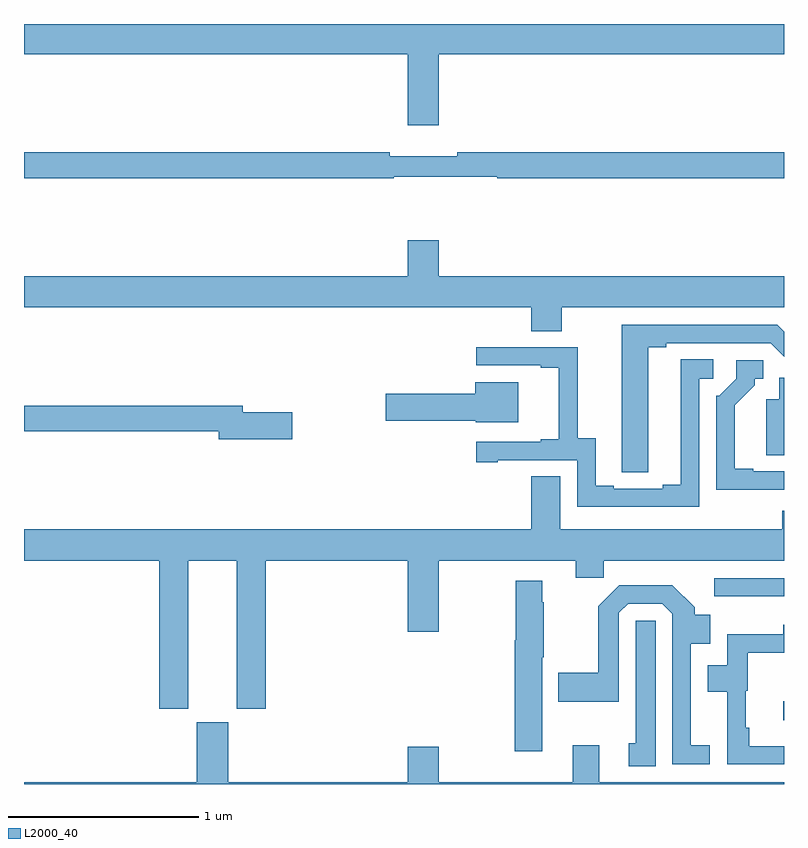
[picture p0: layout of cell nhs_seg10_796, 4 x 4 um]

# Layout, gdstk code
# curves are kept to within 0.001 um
import gdstk
lib = gdstk.Library(unit=1e-6, precision=1e-09)
def R(c, l, rs):  # rectangles x0, y0, x1, y1
    for r in rs: c.add(gdstk.rectangle(r[:2], r[2:], *l))
def P(c, l, *ps):  # polygons
    for p in ps: c.add(gdstk.Polygon(p, *l))
L2000_40 = (2000, 40)

nhs_seg10_796 = lib.new_cell('nhs_seg10_796')
R(nhs_seg10_796, L2000_40, [(154.995,1272.836,155,1272.936), (154.632,1273.487,155,1273.584)])
P(nhs_seg10_796, L2000_40, [(151,1276.34),(153.02,1276.34),(153.02,1275.966),(153.184,1275.966),(153.184,1276.34),(155,1276.34),(155,1276.5),(151,1276.5)],
  [(152.945,1275.696),(153.49,1275.696),(153.49,1275.688),(155,1275.688),(155,1275.824),(153.28,1275.824),(153.28,1275.805),(152.924,1275.805),(152.924,1275.824),(151,1275.824),(151,1275.688),(152.945,1275.688)],
  [(153.831,1275.008),(155,1275.008),(155,1275.172),(153.184,1275.172),(153.184,1275.361),(153.02,1275.361),(153.02,1275.172),(151,1275.172),(151,1275.008),(153.671,1275.008),(153.671,1274.884),(153.831,1274.884)],
  [(154.285,1274.8),(154.381,1274.8),(154.381,1274.82),(154.929,1274.82),(155,1274.749),(155,1274.881),(154.965,1274.916),(154.145,1274.916),(154.145,1274.248),(154.146,1274.248),(154.146,1274.14),(154.285,1274.14)],
  [(154.554,1274.634),(154.627,1274.634),(154.627,1274.735),(154.457,1274.735),(154.457,1274.075),(154.361,1274.075),(154.361,1274.055),(154.105,1274.055),(154.105,1274.07),(154.009,1274.07),(154.009,1274.321),(153.915,1274.321),(153.915,1274.799),(153.381,1274.799),(153.381,1274.703),(153.719,1274.703),(153.719,1274.691),(153.815,1274.691),(153.815,1274.314),(153.719,1274.314),(153.719,1274.301),(153.381,1274.301),(153.381,1274.193),(153.493,1274.193),(153.493,1274.205),(153.912,1274.205),(153.912,1273.959),(154.554,1273.959)],
  [(154.907,1274.049),(155,1274.049),(155,1274.145),(154.837,1274.145),(154.837,1274.158),(154.741,1274.158),(154.741,1274.494),(154.846,1274.599),(154.846,1274.634),(154.891,1274.634),(154.891,1274.73),(154.749,1274.73),(154.749,1274.634),(154.659,1274.544),(154.644,1274.544),(154.644,1274.048)],
  [(155,1274.639),(154.976,1274.639),(154.976,1274.524),(154.907,1274.524),(154.907,1274.23),(155,1274.23)],
  [(153.601,1274.614),(153.374,1274.614),(153.374,1274.553),(152.904,1274.553),(152.904,1274.411),(153.378,1274.411),(153.378,1274.405),(153.601,1274.405)],
  [(152.413,1274.456),(152.152,1274.456),(152.152,1274.492),(151,1274.492),(151,1274.356),(152.024,1274.356),(152.024,1274.314),(152.413,1274.314)],
  [(151.864,1273.676),(152.12,1273.676),(152.12,1272.897),(152.273,1272.897),(152.273,1273.676),(153.02,1273.676),(153.02,1273.302),(153.184,1273.302),(153.184,1273.676),(153.905,1273.676),(153.905,1273.586),(154.052,1273.586),(154.052,1273.676),(155,1273.676),(155,1273.938),(154.991,1273.938),(154.991,1273.84),(153.823,1273.84),(153.823,1274.12),(153.671,1274.12),(153.671,1273.84),(151,1273.84),(151,1273.676),(151.712,1273.676),(151.712,1272.897),(151.864,1272.897)],
  [(153.727,1273.168),(153.735,1273.168),(153.735,1273.457),(153.727,1273.457),(153.727,1273.57),(153.589,1273.57),(153.589,1273.257),(153.584,1273.257),(153.584,1272.672),(153.727,1272.672)],
  [(154.609,1272.704),(154.509,1272.704),(154.509,1273.238),(154.612,1273.238),(154.612,1273.39),(154.529,1273.39),(154.529,1273.429),(154.412,1273.546),(154.132,1273.546),(154.023,1273.436),(154.023,1273.085),(153.812,1273.085),(153.812,1272.932),(154.131,1272.932),(154.131,1273.401),(154.179,1273.449),(154.359,1273.449),(154.413,1273.395),(154.413,1272.603),(154.609,1272.603)],
  [(154.324,1273.359),(154.22,1273.359),(154.22,1272.714),(154.184,1272.714),(154.184,1272.594),(154.324,1272.594)],
  [(155,1272.7),(154.817,1272.7),(154.817,1272.796),(154.799,1272.796),(154.799,1272.99),(154.81,1272.99),(154.81,1273.19),(155,1273.19),(155,1273.339),(154.997,1273.339),(154.997,1273.289),(154.701,1273.289),(154.701,1273.126),(154.598,1273.126),(154.598,1272.986),(154.701,1272.986),(154.701,1272.603),(155,1272.603)],
  [(155,1272.508),(154.027,1272.508),(154.027,1272.703),(153.887,1272.703),(153.887,1272.508),(153.184,1272.508),(153.184,1272.697),(153.02,1272.697),(153.02,1272.508),(152.074,1272.508),(152.074,1272.825),(151.91,1272.825),(151.91,1272.508),(151,1272.508),(151,1272.5),(155,1272.5)])

lib.write_gds('nhs_seg10_796.gds')
